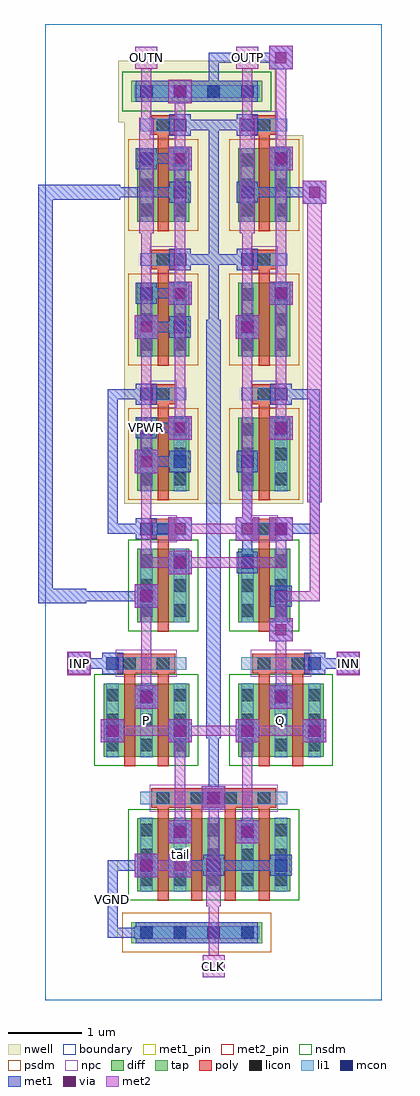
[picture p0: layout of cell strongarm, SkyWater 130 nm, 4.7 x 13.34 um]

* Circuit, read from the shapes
.subckt strongarm CLK INN INP OUTN OUTP P Q VGND VPWR tail
XM1 P INP tail VGND sky130_fd_pr__nfet_01v8 w=1 l=0.15 m=2
XM2 tail CLK VGND VGND sky130_fd_pr__nfet_01v8 w=1 l=0.15 m=4
XM3 OUTN OUTP P VGND sky130_fd_pr__nfet_01v8 w=1 l=0.15
XM4 Q INN tail VGND sky130_fd_pr__nfet_01v8 w=1 l=0.15 m=2
XM5 Q OUTN OUTP VGND sky130_fd_pr__nfet_01v8 w=1 l=0.15
XM6 OUTN OUTP VPWR VPWR sky130_fd_pr__pfet_01v8 w=1 l=0.15
XM7 OUTN CLK VPWR VPWR sky130_fd_pr__pfet_01v8 w=1 l=0.15
XM8 P CLK VPWR VPWR sky130_fd_pr__pfet_01v8 w=1 l=0.15
XM9 VPWR OUTN OUTP VPWR sky130_fd_pr__pfet_01v8 w=1 l=0.15
XM10 VPWR CLK OUTP VPWR sky130_fd_pr__pfet_01v8 w=1 l=0.15
XM11 VPWR CLK Q VPWR sky130_fd_pr__pfet_01v8 w=1 l=0.15
.ends

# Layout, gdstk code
import gdstk
lib = gdstk.Library(unit=1e-6, precision=1e-09)
def R(c, l, rs):  # rectangles x0, y0, x1, y1
    for r in rs: c.add(gdstk.rectangle(r[:2], r[2:], *l))
def A(c, l, x, y, w, h, nx, ny, dx, dy):  # array of equal rectangles
    R(c, l, [(x+i*dx, y+j*dy, x+i*dx+w, y+j*dy+h) for i in range(nx) for j in range(ny)])
nwell = (64, 20)
diff = (65, 20)
tap = (65, 44)
poly = (66, 20)
licon = (66, 44)
li1 = (67, 20)
mcon = (67, 44)
met1_pin = (68, 16)
met1 = (68, 20)
via = (68, 44)
met2_pin = (69, 16)
met2 = (69, 20)
nsdm = (93, 44)
psdm = (94, 20)
npc = (95, 20)
boundary = (235, 4)

strongarm = lib.new_cell('strongarm')
R(strongarm, nwell, [(1.075,6.78,3.525,11.82), (1.075,11.82,3.145,12), (0.995,12,3.145,12.84)])
A(strongarm, diff, 1.255, 6.96, 0.71, 1, 1, 3, 0, 1.84)
A(strongarm, diff, 2.635, 6.96, 0.71, 1, 1, 3, 0, 1.84)
R(strongarm, diff, [(1.255,1.485,3.345,2.485), (0.795,3.325,1.965,4.325), (2.635,3.325,3.805,4.325), (1.255,5.165,1.965,6.165), (2.635,5.165,3.345,6.165)])
R(strongarm, tap, [(1.175,0.775,2.965,1.065), (1.175,12.275,2.965,12.565)])
A(strongarm, poly, 1.535, 1.355, 0.15, 1.405, 4, 1, 0.46, 0)
A(strongarm, poly, 1.445, 6.305, 0.33, 0.27, 1, 4, 0, 1.84)
A(strongarm, poly, 2.825, 6.305, 0.33, 0.27, 1, 4, 0, 1.84)
A(strongarm, poly, 1.535, 6.83, 0.15, 1.45, 1, 3, 0, 1.84)
A(strongarm, poly, 2.915, 6.83, 0.15, 1.45, 1, 3, 0, 1.84)
R(strongarm, poly, [(1.445,2.625,3.155,2.895), (1.075,3.195,1.225,4.6), (1.535,3.195,1.685,4.6), (2.915,3.195,3.065,4.6), (3.375,3.195,3.525,4.6), (0.985,4.465,1.775,4.735), (2.825,4.465,3.615,4.735), (1.535,5.035,1.685,6.44), (2.915,5.035,3.065,6.44)])
A(strongarm, licon, 1.295, 0.835, 0.17, 0.17, 4, 2, 0.46, 11.5)
A(strongarm, licon, 1.295, 1.56, 0.17, 0.17, 5, 3, 0.46, 0.34)
A(strongarm, licon, 1.525, 2.675, 0.17, 0.17, 4, 1, 0.46, 0)
A(strongarm, licon, 0.835, 3.4, 0.17, 0.17, 3, 3, 0.46, 0.34)
A(strongarm, licon, 2.675, 3.4, 0.17, 0.17, 3, 3, 0.46, 0.34)
A(strongarm, licon, 1.525, 4.515, 0.17, 0.17, 1, 5, 0, 1.84)
A(strongarm, licon, 2.905, 4.515, 0.17, 0.17, 1, 5, 0, 1.84)
A(strongarm, licon, 1.295, 5.24, 0.17, 0.17, 1, 3, 0, 0.34)
A(strongarm, licon, 1.755, 5.24, 0.17, 0.17, 1, 3, 0, 0.34)
A(strongarm, licon, 2.675, 5.24, 0.17, 0.17, 1, 3, 0, 0.34)
A(strongarm, licon, 3.135, 5.24, 0.17, 0.17, 1, 3, 0, 0.34)
A(strongarm, licon, 1.295, 7.035, 0.17, 0.17, 1, 3, 0, 0.34)
A(strongarm, licon, 1.755, 7.035, 0.17, 0.17, 1, 3, 0, 0.34)
A(strongarm, licon, 2.675, 7.035, 0.17, 0.17, 1, 3, 0, 0.34)
A(strongarm, licon, 3.135, 7.035, 0.17, 0.17, 1, 3, 0, 0.34)
A(strongarm, licon, 1.295, 8.875, 0.17, 0.17, 1, 3, 0, 0.34)
A(strongarm, licon, 1.755, 8.875, 0.17, 0.17, 1, 3, 0, 0.34)
A(strongarm, licon, 2.675, 8.875, 0.17, 0.17, 1, 3, 0, 0.34)
A(strongarm, licon, 3.135, 8.875, 0.17, 0.17, 1, 3, 0, 0.34)
A(strongarm, licon, 1.295, 10.715, 0.17, 0.17, 1, 3, 0, 0.34)
A(strongarm, licon, 1.755, 10.715, 0.17, 0.17, 1, 3, 0, 0.34)
A(strongarm, licon, 2.675, 10.715, 0.17, 0.17, 1, 3, 0, 0.34)
A(strongarm, licon, 3.135, 10.715, 0.17, 0.17, 1, 3, 0, 0.34)
R(strongarm, licon, [(1.065,4.515,1.235,4.685), (3.365,4.515,3.535,4.685)])
A(strongarm, li1, 1.295, 1.48, 0.17, 1.01, 5, 1, 0.46, 0)
A(strongarm, li1, 0.835, 3.32, 0.17, 1.01, 3, 1, 0.46, 0)
A(strongarm, li1, 2.675, 3.32, 0.17, 1.01, 3, 1, 0.46, 0)
A(strongarm, li1, 1.295, 6.355, 0.63, 0.17, 1, 4, 0, 1.84)
A(strongarm, li1, 2.675, 6.355, 0.63, 0.17, 1, 4, 0, 1.84)
A(strongarm, li1, 1.295, 6.955, 0.17, 1.01, 1, 3, 0, 1.84)
A(strongarm, li1, 1.755, 6.955, 0.17, 1.01, 1, 3, 0, 1.84)
A(strongarm, li1, 2.675, 6.955, 0.17, 1.01, 1, 3, 0, 1.84)
A(strongarm, li1, 3.135, 6.955, 0.17, 1.01, 1, 3, 0, 1.84)
R(strongarm, li1, [(1.215,0.835,2.925,1.005), (1.295,2.675,3.305,2.845), (0.835,4.515,1.925,4.685), (2.675,4.515,3.765,4.685), (1.295,5.16,1.465,6.17), (1.755,5.16,1.925,6.17), (2.675,5.16,2.845,6.17), (3.135,5.16,3.305,6.17), (1.215,12.335,2.925,12.505)])
A(strongarm, mcon, 1.295, 0.835, 0.17, 0.17, 4, 2, 0.46, 11.5)
A(strongarm, mcon, 1.295, 1.755, 0.17, 0.17, 3, 1, 0.92, 0)
A(strongarm, mcon, 0.835, 3.595, 0.17, 0.17, 4, 1, 0.92, 0)
A(strongarm, mcon, 1.755, 9.115, 0.17, 0.17, 1, 4, 0, 0.92)
A(strongarm, mcon, 2.675, 9.115, 0.17, 0.17, 1, 4, 0, 0.92)
R(strongarm, mcon, [(1.755,2.215,1.925,2.385), (2.675,2.215,2.845,2.385), (2.215,2.675,2.385,2.845), (1.295,4.055,1.465,4.225), (3.135,4.055,3.305,4.225), (0.835,4.515,1.005,4.685), (3.595,4.515,3.765,4.685), (1.295,5.435,1.465,5.605), (3.135,5.435,3.305,5.605), (1.755,5.895,1.925,6.065), (2.675,5.895,2.845,6.065), (1.295,6.355,1.465,6.525), (3.135,6.355,3.305,6.525), (1.755,7.275,1.925,7.445), (2.675,7.275,2.845,7.445), (1.295,7.735,1.465,7.905), (3.135,7.735,3.305,7.905), (1.295,8.195,1.465,8.365), (3.135,8.195,3.305,8.365), (1.295,9.575,1.465,9.745), (3.135,9.575,3.305,9.745), (1.295,11.415,1.465,11.585), (3.135,11.415,3.305,11.585)])
R(strongarm, met1_pin, [(0.85,0.85,0.99,1.91), (1.235,7.675,1.525,7.965)])
A(strongarm, met1, 1.235, 1.695, 0.29, 0.29, 3, 1, 0.92, 0)
A(strongarm, met1, 0.76, 3.52, 0.32, 0.32, 4, 1, 0.92, 0)
A(strongarm, met1, 0.775, 3.535, 0.29, 0.29, 4, 1, 0.92, 0)
A(strongarm, met1, 3.06, 4.9, 0.32, 0.32, 1, 3, 0, 1.38)
A(strongarm, met1, 1.22, 5.36, 0.32, 0.32, 1, 3, 0, 1.84)
A(strongarm, met1, 1.68, 7.66, 0.32, 0.32, 1, 3, 0, 1.84)
A(strongarm, met1, 1.695, 9.055, 0.29, 0.29, 1, 4, 0, 0.92)
A(strongarm, met1, 2.615, 9.055, 0.29, 0.29, 1, 4, 0, 0.92)
R(strongarm, met1, [(1.235,0.775,2.905,1.065), (0.85,0.85,1.45,0.99), (0.85,0.85,0.99,1.91), (1.31,0.85,1.45,0.99), (1.22,1.68,1.54,2), (1.68,1.68,2,2), (0.85,1.77,1.45,1.91), (1.77,1.77,2.37,1.91), (2.23,1.77,3.29,1.91), (1.68,2.14,2,2.46), (2.6,2.14,2.92,2.46), (1.695,2.155,1.985,2.445), (2.615,2.155,2.905,2.445), (2.14,2.6,2.46,2.92), (2.155,2.615,2.445,2.905), (2.23,2.69,2.37,3.75), (2.2,3.58,2.4,9.3), (1.22,3.98,1.54,4.3), (3.06,3.98,3.38,4.3), (1.235,3.995,1.525,4.285), (3.075,3.995,3.365,4.285), (0.3,4.44,0.62,4.76), (3.98,4.44,4.3,4.76), (0.775,4.455,1.065,4.745), (3.535,4.455,3.825,4.745), (0.39,4.53,0.99,4.67), (3.61,4.53,4.21,4.67), (3.15,4.99,3.29,5.59), (1.235,5.375,1.525,5.665), (3.075,5.375,3.365,5.665), (-0.1,5.42,0.1,11.14), (-0.1,5.42,0.56,5.62), (0.39,5.45,1.45,5.59), (1.68,5.82,2,6.14), (1.695,5.835,1.985,6.125), (2.615,5.835,2.905,6.125), (2.69,5.91,2.83,6.51), (1.68,6.28,2,6.6), (2.6,6.28,2.92,6.6), (1.235,6.295,1.525,6.585), (3.075,6.295,3.365,6.585), (0.85,6.37,1.45,6.51), (0.85,6.37,0.99,8.35), (1.31,6.37,1.91,6.51), (2.69,6.37,2.83,7.43), (3.15,6.37,3.75,6.51), (3.61,6.37,3.75,8.35), (1.695,7.215,1.985,7.505), (2.615,7.215,2.905,7.505), (1.31,7.29,1.91,7.43), (1.235,7.675,1.525,7.965), (3.075,7.675,3.365,7.965), (1.31,7.75,1.91,7.89), (1.235,8.135,1.525,8.425), (3.075,8.135,3.365,8.425), (0.85,8.21,1.45,8.35), (3.15,8.21,3.75,8.35), (2.6,9.04,2.92,9.36), (1.31,9.13,1.91,9.27), (2.23,9.13,2.37,10.19), (3.06,9.5,3.38,9.82), (1.235,9.515,1.525,9.805), (3.075,9.515,3.365,9.805), (1.31,9.59,1.91,9.73), (1.77,10.05,2.83,10.19), (2.23,10.05,2.37,12.03), (3.52,10.88,3.84,11.2), (-0.1,10.94,1.02,11.14), (0.85,10.97,1.91,11.11), (2.69,10.97,3.75,11.11), (3.06,11.34,3.38,11.66), (1.235,11.355,1.525,11.645), (3.075,11.355,3.365,11.645), (1.31,11.43,1.91,11.57), (1.77,11.89,2.37,12.03), (2.23,11.89,2.83,12.03), (1.68,12.26,2,12.58), (1.235,12.275,2.905,12.565), (1.77,12.35,2.37,12.49), (1.77,12.35,1.91,12.49), (2.23,12.35,2.37,12.95), (3.06,12.72,3.38,13.04), (2.23,12.81,3.29,12.95)])
A(strongarm, via, 0.845, 3.605, 0.15, 0.15, 4, 1, 0.92, 0)
A(strongarm, via, 3.145, 4.985, 0.15, 0.15, 1, 3, 0, 1.38)
A(strongarm, via, 1.305, 5.445, 0.15, 0.15, 1, 3, 0, 1.84)
A(strongarm, via, 1.765, 7.745, 0.15, 0.15, 1, 3, 0, 1.84)
R(strongarm, via, [(1.305,1.765,1.455,1.915), (1.765,1.765,1.915,1.915), (1.765,2.225,1.915,2.375), (2.685,2.225,2.835,2.375), (2.225,2.685,2.375,2.835), (1.305,4.065,1.455,4.215), (3.145,4.065,3.295,4.215), (0.385,4.525,0.535,4.675), (4.065,4.525,4.215,4.675), (1.765,5.905,1.915,6.055), (1.765,6.365,1.915,6.515), (2.685,6.365,2.835,6.515), (2.685,9.125,2.835,9.275), (3.145,9.585,3.295,9.735), (3.605,10.965,3.755,11.115), (3.145,11.425,3.295,11.575), (1.765,12.345,1.915,12.495), (3.145,12.805,3.295,12.955)])
R(strongarm, met2_pin, [(2.15,0.31,2.45,0.61), (0.31,4.45,0.61,4.75), (3.99,4.45,4.29,4.75), (1.23,12.73,1.53,13.03), (2.61,12.73,2.91,13.03)])
A(strongarm, met2, 0.76, 3.52, 0.32, 0.32, 4, 1, 0.92, 0)
A(strongarm, met2, 0.85, 3.61, 1.06, 0.14, 3, 1, 0.92, 0)
A(strongarm, met2, 3.06, 4.9, 0.32, 0.32, 1, 3, 0, 1.38)
A(strongarm, met2, 1.22, 5.36, 0.32, 0.32, 1, 3, 0, 1.84)
A(strongarm, met2, 1.68, 7.66, 0.32, 0.32, 1, 3, 0, 1.84)
R(strongarm, met2, [(2.15,0.31,2.45,0.61), (2.23,0.39,2.37,0.53), (2.23,0.39,2.37,1.45), (2.2,1.28,2.4,1.94), (1.22,1.68,1.54,2), (1.68,1.68,2,2), (1.31,1.77,1.91,1.91), (2.23,1.77,2.37,2.83), (1.68,2.14,2,2.46), (2.6,2.14,2.92,2.46), (1.77,2.23,1.91,3.75), (2.69,2.23,2.83,3.75), (2.14,2.6,2.46,2.92), (1.22,3.98,1.54,4.3), (3.06,3.98,3.38,4.3), (1.31,4.07,1.45,5.59), (3.15,4.07,3.29,5.13), (0.3,4.44,0.62,4.76), (3.98,4.44,4.3,4.76), (0.31,4.45,0.61,4.75), (3.99,4.45,4.29,4.75), (0.39,4.53,0.53,4.67), (4.07,4.53,4.21,4.67), (3.15,4.99,3.29,5.59), (3.15,5.45,3.75,5.59), (3.61,5.45,3.75,6.97), (1.68,5.82,2,6.14), (1.31,5.91,1.45,7.43), (1.31,5.91,1.91,6.05), (1.77,5.91,3.29,6.05), (3.15,5.91,3.29,6.51), (1.68,6.28,2,6.6), (2.6,6.28,2.92,6.6), (1.77,6.37,2.83,6.51), (2.69,6.37,2.83,9.27), (3.58,6.8,3.78,11.14), (1.31,7.29,1.45,9.27), (1.77,7.75,1.91,9.73), (3.15,7.75,3.29,9.73), (2.6,9.04,2.92,9.36), (1.31,9.13,1.45,10.65), (2.69,9.13,2.83,10.65), (3.06,9.5,3.38,9.82), (1.77,9.59,1.91,12.49), (3.15,9.59,3.29,11.57), (1.28,10.48,1.48,12.06), (2.66,10.48,2.86,12.06), (3.52,10.88,3.84,11.2), (3.06,11.34,3.38,11.66), (3.15,11.43,3.29,12.95), (1.31,11.89,1.45,12.95), (2.69,11.89,2.83,12.95), (1.68,12.26,2,12.58), (3.06,12.72,3.38,13.04), (1.23,12.73,1.53,13.03), (2.61,12.73,2.91,13.03), (1.31,12.81,1.45,12.95), (2.69,12.81,2.83,12.95)])
R(strongarm, nsdm, [(1.13,1.36,3.47,2.61), (0.67,3.2,2.09,4.45), (2.51,3.2,3.93,4.45), (1.13,5.04,2.09,6.29), (2.51,5.04,3.47,6.29), (1.05,12.15,3.09,12.69)])
A(strongarm, psdm, 1.13, 6.835, 0.96, 1.25, 1, 3, 0, 1.84)
A(strongarm, psdm, 2.51, 6.835, 0.96, 1.25, 1, 3, 0, 1.84)
R(strongarm, psdm, [(1.05,0.65,3.09,1.19)])
A(strongarm, npc, 1.425, 6.255, 0.37, 0.37, 1, 4, 0, 1.84)
A(strongarm, npc, 2.805, 6.255, 0.37, 0.37, 1, 4, 0, 1.84)
R(strongarm, npc, [(1.425,2.575,3.175,2.945), (0.965,4.415,1.795,4.785), (2.805,4.415,3.635,4.785)])
R(strongarm, boundary, [(0,0,4.6,13.34)])
strongarm.add(gdstk.Label('tail', (1.84,1.985), layer=67, texttype=5))
strongarm.add(gdstk.Label('P', (1.38,3.825), layer=67, texttype=5))
strongarm.add(gdstk.Label('Q', (3.22,3.825), layer=67, texttype=5))
strongarm.add(gdstk.Label('VPWR', (1.38,7.82), layer=68, texttype=5))
strongarm.add(gdstk.Label('VGND', (0.92,1.38), layer=68, texttype=5))
strongarm.add(gdstk.Label('CLK', (2.3,0.46), layer=69, texttype=5))
strongarm.add(gdstk.Label('INP', (0.46,4.6), layer=69, texttype=5))
strongarm.add(gdstk.Label('INN', (4.14,4.6), layer=69, texttype=5))
strongarm.add(gdstk.Label('OUTP', (2.76,12.88), layer=69, texttype=5))
strongarm.add(gdstk.Label('OUTN', (1.38,12.88), layer=69, texttype=5))
strongarm.add(gdstk.Label('VPWR', (1.38,7.82), layer=68, texttype=16))
strongarm.add(gdstk.Label('VGND', (0.92,1.38), layer=68, texttype=16))
strongarm.add(gdstk.Label('CLK', (2.3,0.46), layer=69, texttype=16))
strongarm.add(gdstk.Label('INP', (0.46,4.6), layer=69, texttype=16))
strongarm.add(gdstk.Label('INN', (4.14,4.6), layer=69, texttype=16))
strongarm.add(gdstk.Label('OUTP', (2.76,12.88), layer=69, texttype=16))
strongarm.add(gdstk.Label('OUTN', (1.38,12.88), layer=69, texttype=16))

lib.write_gds('strongarm.gds')
